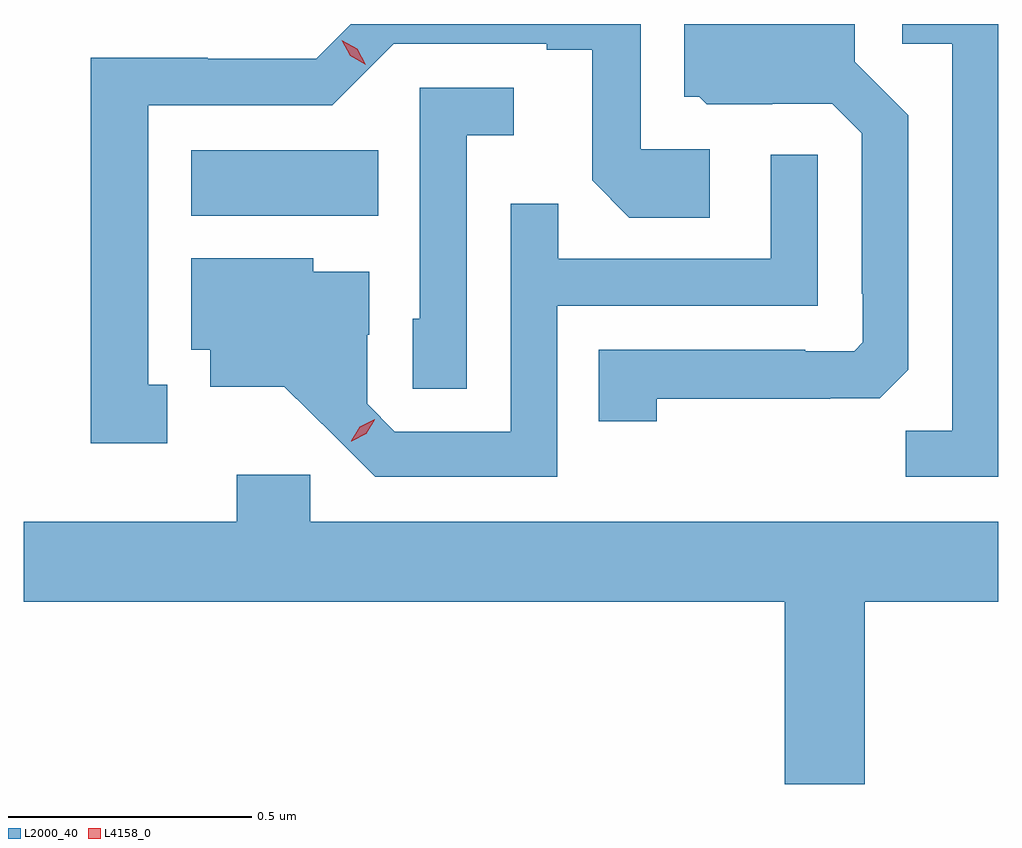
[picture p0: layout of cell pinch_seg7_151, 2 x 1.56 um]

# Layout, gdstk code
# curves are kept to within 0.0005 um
import gdstk
lib = gdstk.Library(unit=1e-6, precision=1e-09)
def R(c, l, rs):  # rectangles x0, y0, x1, y1
    for r in rs: c.add(gdstk.rectangle(r[:2], r[2:], *l))
def P(c, l, *ps):  # polygons
    for p in ps: c.add(gdstk.Polygon(p, *l))
L2000_40 = (2000, 40)
L4158_0 = (4158, 0)

pinch_seg7_151 = lib.new_cell('pinch_seg7_151')
R(pinch_seg7_151, L2000_40, [(1038.914,1018.724,1039.298,1018.858)])
P(pinch_seg7_151, L2000_40, [(1040.57,1019.117),(1040.373,1019.117),(1040.373,1019.076),(1040.475,1019.076),(1040.475,1018.283),(1040.38,1018.283),(1040.38,1018.188),(1040.57,1018.188)],
  [(1039.869,1018.348),(1040.225,1018.348),(1040.225,1018.349),(1040.326,1018.349),(1040.385,1018.408),(1040.385,1018.93),(1040.275,1019.04),(1040.275,1019.117),(1039.925,1019.117),(1039.925,1018.968),(1039.956,1018.968),(1039.972,1018.952),(1040.106,1018.952),(1040.106,1018.953),(1040.229,1018.953),(1040.289,1018.893),(1040.289,1018.564),(1040.292,1018.564),(1040.292,1018.464),(1040.274,1018.446),(1040.174,1018.446),(1040.174,1018.449),(1039.75,1018.449),(1039.75,1018.302),(1039.869,1018.302)],
  [(1038.865,1018.377),(1038.826,1018.377),(1038.826,1018.95),(1039.203,1018.95),(1039.329,1019.076),(1039.643,1019.076),(1039.643,1019.064),(1039.737,1019.064),(1039.737,1018.796),(1039.813,1018.72),(1039.978,1018.72),(1039.978,1018.86),(1039.836,1018.86),(1039.836,1019.117),(1039.241,1019.117),(1039.17,1019.046),(1038.948,1019.046),(1038.948,1019.048),(1038.708,1019.048),(1038.708,1018.257),(1038.865,1018.257)],
  [(1039.479,1018.889),(1039.576,1018.889),(1039.576,1018.986),(1039.383,1018.986),(1039.383,1018.512),(1039.368,1018.512),(1039.368,1018.369),(1039.479,1018.369)],
  [(1039.665,1018.539),(1040.199,1018.539),(1040.199,1018.849),(1040.103,1018.849),(1040.103,1018.635),(1039.667,1018.635),(1039.667,1018.748),(1039.569,1018.748),(1039.569,1018.281),(1039.332,1018.281),(1039.275,1018.338),(1039.275,1018.48),(1039.279,1018.48),(1039.279,1018.609),(1039.164,1018.609),(1039.164,1018.636),(1038.914,1018.636),(1038.914,1018.449),(1038.953,1018.449),(1038.953,1018.373),(1039.105,1018.373),(1039.292,1018.188),(1039.665,1018.188)],
  [(1039.158,1018.192),(1039.007,1018.192),(1039.007,1018.096),(1038.57,1018.096),(1038.57,1017.932),(1040.132,1017.932),(1040.132,1017.558),(1040.296,1017.558),(1040.296,1017.932),(1040.57,1017.932),(1040.57,1018.096),(1039.158,1018.096)])
P(pinch_seg7_151, L4158_0, [(1039.242,1018.261),(1039.242,1018.262),(1039.26,1018.291),(1039.29,1018.306),(1039.291,1018.306),(1039.291,1018.305),(1039.273,1018.276),(1039.243,1018.261)],
  [(1039.272,1019.033),(1039.24,1019.052),(1039.223,1019.084),(1039.223,1019.084),(1039.223,1019.084),(1039.255,1019.066),(1039.272,1019.033),(1039.272,1019.033)])

lib.write_gds('pinch_seg7_151.gds')
